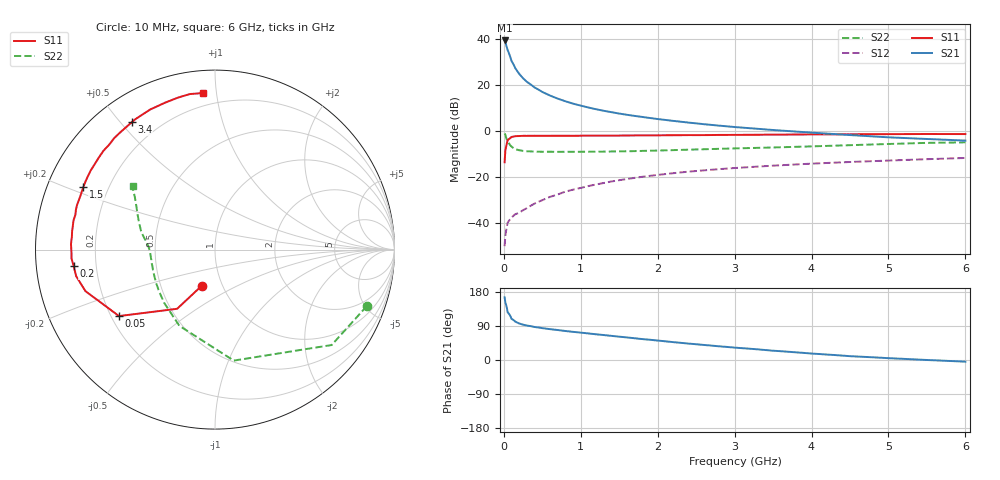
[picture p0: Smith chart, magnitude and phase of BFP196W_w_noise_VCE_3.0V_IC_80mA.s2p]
! Infineon Technologies  Discrete & RF Semiconductors
! BFP196W
! VCE =  3.0 V,  IC =  80 mA
! Common Emitter S-Parameters:  Jan 2017
# GHz  S  MA  R  50
!  f  S11  S21  S12  S22
! GHz  MAG  ANG  MAG  ANG  MAG  ANG  MAG  ANG
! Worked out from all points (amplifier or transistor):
!   77 points, 10 MHz to 6 GHz, reference 50 ohm
!   highest |S21| = 39.5 dB at 10 MHz (marker M1)
!   |S21| within 3 dB of that: start of sweep to 39.05 MHz
!   unconditionally stable (mu >= 1): 487.1 MHz to 3.342 GHz
!   at 130 MHz: K = 0.57, MSG = 32.7 dB, |S12| = -36.5 dB
!   at 2.2 GHz: K = 1.03, MAG = 10.3 dB, |S12| = -18.2 dB
!   at 6 GHz: K = 0.96, MSG = 3.8 dB, |S12| = -11.6 dB
!   lowest NFmin = 1.68 dB at 450 MHz
!   S11 on the Smith chart (normalised r, x): 10 MHz: 0.80, -0.34; 50 MHz: 0.23, -0.30; 200 MHz: 0.12, -0.06; 1.5 GHz: 0.11, +0.22; 3.4 GHz: 0.11, +0.54; 6 GHz: 0.12, +0.92
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0.01  0.2135 -110.0  94.75 165.5  0.0032 73.3  0.9027 -20.4
0.02  0.3913 -122.6  86.95 151.5  0.0055 68.5  0.8396 -39.3
0.05  0.6506 -145.3  58.34 125.7  0.0104 48.5  0.6271 -80.4
0.1  0.7578 -162.2  33.96 108.5  0.0134 46.2  0.4687 -115.1
0.15  0.7873 -169.1  23.45 101.1  0.0159 48.2  0.4108 -133.3
0.2  0.793 -173.4  17.77 96.4  0.017 53.0  0.3891 -143.3
0.25  0.8011 -176.5  14.27 93.2  0.0194 53.7  0.377 -150.4
0.3  0.7999 -178.7  11.93 90.9  0.0215 56.5  0.3701 -155.3
0.4  0.803 177.7  8.999 87.1  0.027 61.0  0.3641 -161.6
0.5  0.8006 175.0  7.201 84.1  0.032 63.3  0.3606 -165.8
0.6  0.8027 172.6  6.017 81.4  0.0377 64.4  0.3612 -168.7
0.7  0.8032 170.4  5.156 79.1  0.0425 66.2  0.3591 -170.9
0.9  0.8017 165.9  4.007 74.3  0.0542 66.5  0.3601 -174.2
1.1  0.8078 162.2  3.303 70.1  0.0649 66.7  0.3615 -176.7
1.3  0.8073 158.2  2.8 65.8  0.0757 65.2  0.3636 -179.1
1.5  0.8115 154.6  2.441 61.6  0.087 64.0  0.3682 178.8
2.1  0.8231 143.6  1.774 49.3  0.1182 58.8  0.3871 173.1
3.1  0.841 127.5  1.208 31.2  0.1637 48.8  0.4307 164.4
3.4  0.8479 123.1  1.104 26.3  0.1758 46.1  0.4429 161.7
4.1  0.8602 113.6  0.918 15.8  0.2024 39.6  0.4778 154.9
5.1  0.8723 102.8  0.731 3.9  0.2355 31.3  0.5386 146.3
6  0.8747 94.5  0.631 -4.4  0.2645 24.1  0.5778 141.9
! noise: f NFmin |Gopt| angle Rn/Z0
0.45  1.68  0.56  -175  0.06
0.9  1.8  0.59  -169  0.08
1.9  2.67  0.7  -148  0.2
2.4  3.09  0.74  -143  0.32
